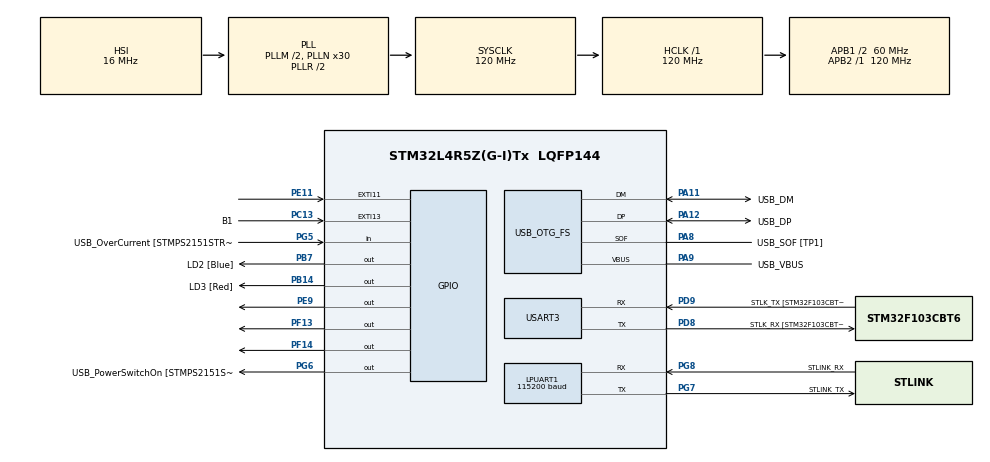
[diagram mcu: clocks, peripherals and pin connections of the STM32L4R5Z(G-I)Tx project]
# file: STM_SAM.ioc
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Dma.LPUART1_TX.2.Direction=DMA_MEMORY_TO_PERIPH
Dma.LPUART1_TX.2.EventEnable=DISABLE
Dma.LPUART1_TX.2.Instance=DMA1_Channel3
Dma.LPUART1_TX.2.MemDataAlignment=DMA_MDATAALIGN_BYTE
Dma.LPUART1_TX.2.MemInc=DMA_MINC_ENABLE
Dma.LPUART1_TX.2.Mode=DMA_NORMAL
Dma.LPUART1_TX.2.PeriphDataAlignment=DMA_PDATAALIGN_BYTE
Dma.LPUART1_TX.2.PeriphInc=DMA_PINC_DISABLE
Dma.LPUART1_TX.2.Polarity=HAL_DMAMUX_REQUEST_GEN_RISING
Dma.LPUART1_TX.2.Priority=DMA_PRIORITY_LOW
Dma.LPUART1_TX.2.RequestNumber=1
Dma.LPUART1_TX.2.SignalID=NONE
Dma.LPUART1_TX.2.SyncEnable=DISABLE
Dma.LPUART1_TX.2.SyncPolarity=HAL_DMAMUX_SYNC_NO_EVENT
Dma.LPUART1_TX.2.SyncRequestNumber=1
Dma.LPUART1_TX.2.SyncSignalID=NONE
Dma.Request0=USART3_RX
Dma.Request1=USART3_TX
Dma.Request2=LPUART1_TX
Dma.USART3_RX.0.Direction=DMA_PERIPH_TO_MEMORY
Dma.USART3_RX.0.EventEnable=DISABLE
Dma.USART3_RX.0.Instance=DMA1_Channel1
Dma.USART3_RX.0.MemDataAlignment=DMA_MDATAALIGN_BYTE
Dma.USART3_RX.0.MemInc=DMA_MINC_ENABLE
Dma.USART3_RX.0.Mode=DMA_NORMAL
Dma.USART3_RX.0.PeriphDataAlignment=DMA_PDATAALIGN_BYTE
Dma.USART3_RX.0.PeriphInc=DMA_PINC_DISABLE
Dma.USART3_RX.0.Polarity=HAL_DMAMUX_REQUEST_GEN_RISING
Dma.USART3_RX.0.Priority=DMA_PRIORITY_LOW
Dma.USART3_RX.0.RequestNumber=1
Dma.USART3_RX.0.SignalID=NONE
Dma.USART3_RX.0.SyncEnable=DISABLE
Dma.USART3_RX.0.SyncPolarity=HAL_DMAMUX_SYNC_NO_EVENT
Dma.USART3_RX.0.SyncRequestNumber=1
Dma.USART3_RX.0.SyncSignalID=NONE
Dma.USART3_TX.1.Direction=DMA_MEMORY_TO_PERIPH
Dma.USART3_TX.1.EventEnable=DISABLE
Dma.USART3_TX.1.Instance=DMA1_Channel2
Dma.USART3_TX.1.MemDataAlignment=DMA_MDATAALIGN_BYTE
Dma.USART3_TX.1.MemInc=DMA_MINC_ENABLE
Dma.USART3_TX.1.Mode=DMA_NORMAL
Dma.USART3_TX.1.PeriphDataAlignment=DMA_PDATAALIGN_BYTE
Dma.USART3_TX.1.PeriphInc=DMA_PINC_DISABLE
Dma.USART3_TX.1.Polarity=HAL_DMAMUX_REQUEST_GEN_RISING
Dma.USART3_TX.1.Priority=DMA_PRIORITY_LOW
Dma.USART3_TX.1.RequestNumber=1
Dma.USART3_TX.1.SignalID=NONE
Dma.USART3_TX.1.SyncEnable=DISABLE
Dma.USART3_TX.1.SyncPolarity=HAL_DMAMUX_SYNC_NO_EVENT
Dma.USART3_TX.1.SyncRequestNumber=1
Dma.USART3_TX.1.SyncSignalID=NONE
LPUART1.BaudRate=115200
LPUART1.WordLength=UART_WORDLENGTH_8B
Mcu.Family=STM32L4
Mcu.Name=STM32L4R5Z(G-I)Tx
Mcu.Package=LQFP144
NVIC.DMA1_Channel1_IRQn=true\:0\:0\:false\:false\:true\:false\:true\:true
NVIC.DMA1_Channel2_IRQn=true\:0\:0\:false\:false\:true\:false\:true\:true
NVIC.DMA1_Channel3_IRQn=true\:0\:0\:false\:false\:true\:false\:true\:true
NVIC.LPUART1_IRQn=true\:0\:0\:false\:false\:true\:true\:true\:true
NVIC.PriorityGroup=NVIC_PRIORITYGROUP_4
NVIC.USART3_IRQn=true\:0\:0\:false\:false\:true\:true\:true\:true
PA10.GPIO_Label=USB_ID
PA10.Signal=USB_OTG_FS_ID
PA11.GPIO_Label=USB_DM
PA11.Mode=Device_Only
PA11.Signal=USB_OTG_FS_DM
PA12.GPIO_Label=USB_DP
PA12.Mode=Device_Only
PA12.Signal=USB_OTG_FS_DP
PA13\ (JTMS/SWDIO).GPIO_Label=TMS
PA13\ (JTMS/SWDIO).Mode=Trace_Asynchronous_SW
PA13\ (JTMS/SWDIO).Signal=SYS_JTMS-SWDIO
PA14\ (JTCK/SWCLK).GPIO_Label=TCK
PA14\ (JTCK/SWCLK).Mode=Trace_Asynchronous_SW
PA14\ (JTCK/SWCLK).Signal=SYS_JTCK-SWCLK
PA8.GPIO_Label=USB_SOF [TP1]
PA8.Mode=Activate_SOF_FS
PA8.Signal=USB_OTG_FS_SOF
PA9.GPIO_Label=USB_VBUS
PA9.Mode=Activate_VBUS
PA9.Signal=USB_OTG_FS_VBUS
PB14.GPIO_Label=LD3 [Red]
PB14.Signal=GPIO_Output
PB3\ (JTDO/TRACESWO).GPIO_Label=SWO
PB3\ (JTDO/TRACESWO).Mode=Trace_Asynchronous_SW
PB3\ (JTDO/TRACESWO).Signal=SYS_JTDO-SWO
PB7.GPIO_Label=LD2 [Blue]
PB7.Signal=GPIO_Output
PC13.GPIO_Label=B1
PC13.Signal=GPXTI13
PC14-OSC32_IN\ (PC14).Mode=LSE-External-Oscillator
PC14-OSC32_IN\ (PC14).Signal=RCC_OSC32_IN
PC15-OSC32_OUT\ (PC15).Mode=LSE-External-Oscillator
PC15-OSC32_OUT\ (PC15).Signal=RCC_OSC32_OUT
PD8.GPIO_Label=STLK_RX [STM32F103CBT6_PA3]
PD8.Mode=Asynchronous
PD8.Signal=USART3_TX
PD9.GPIO_Label=STLK_TX [STM32F103CBT6_PA2]
PD9.Mode=Asynchronous
PD9.Signal=USART3_RX
PE11.Signal=GPXTI11
PE9.Signal=GPIO_Output
PF13.Signal=GPIO_Output
PF14.Signal=GPIO_Output
PG5.GPIO_Label=USB_OverCurrent [STMPS2151STR_FAULT]
PG5.Signal=GPIO_Input
PG6.GPIO_Label=USB_PowerSwitchOn [STMPS2151STR_EN]
PG6.Signal=GPIO_Output
PG7.GPIO_Label=STLINK_TX
PG7.Mode=Asynchronous
PG7.Signal=LPUART1_TX
PG8.GPIO_Label=STLINK_RX
PG8.Mode=Asynchronous
PG8.Signal=LPUART1_RX
PH0-OSC_IN\ (PH0).Mode=HSE-External-Clock-Source
PH0-OSC_IN\ (PH0).Signal=RCC_OSC_IN
PH1-OSC_OUT\ (PH1).Signal=RCC_OSC_OUT
ProjectManager.HeapSize=0x200
ProjectManager.StackSize=0x400
ProjectManager.TargetToolchain=MDK-ARM V5.32
RCC.48MHZClocksFreq_Value=24000000
RCC.ADCFreq_Value=96000000
RCC.AHBFreq_Value=120000000
RCC.APB1CLKDivider=RCC_HCLK_DIV2
RCC.APB1Freq_Value=60000000
RCC.APB1TimFreq_Value=120000000
RCC.APB2Freq_Value=120000000
RCC.APB2TimFreq_Value=120000000
RCC.CK48CLockSelection=RCC_USBCLKSOURCE_HSI48
RCC.CortexFreq_Value=120000000
RCC.HCLKFreq_Value=120000000
RCC.HSE_VALUE=8000000
RCC.HSI48_VALUE=48000000
RCC.HSI_VALUE=16000000
RCC.MSI_VALUE=4000000
RCC.PLLM1=2
RCC.PLLMUL=RCC_PLL_MUL9
RCC.PLLN=30
RCC.PLLSAI1N=12
RCC.PLLSourceVirtual=RCC_PLLSOURCE_HSI
RCC.PRESCALERUSB=RCC_USBCLKSOURCE_PLL_DIV1_5
RCC.SYSCLKFreq_VALUE=120000000
RCC.SYSCLKSource=RCC_SYSCLKSOURCE_PLLCLK
RCC.SYSCLKSourceVirtual=RCC_SYSCLKSOURCE_PLLCLK
RCC.USBFreq_Value=48000000
RCC.VCOOutputFreq_Value=240000000
USART3.VirtualMode-Asynchronous=VM_ASYNC
USB_OTG_FS.VirtualMode=Device_Only
board=NUCLEO-L4R5ZI

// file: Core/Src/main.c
/* USER CODE BEGIN Header */
/**
  ******************************************************************************
  * @file           : main.c
  * @brief          : Main program body
  ******************************************************************************
  * @attention
  *
  * Copyright (c) 2025 STMicroelectronics.
  * All rights reserved.
  *
  * This software is licensed under terms that can be found in the LICENSE file
  * in the root directory of this software component.
  * If no LICENSE file comes with this software, it is provided AS-IS.
  *
  ******************************************************************************
  */
/* USER CODE END Header */
#include "main.h"
#include "include.h"

/* USER CODE BEGIN PD */
#if defined ( __GNUC__) && !defined(__clang__)
/* With GCC, small printf (option LD Linker->Libraries->Small printf
   set to 'Yes') calls __io_putchar() */
#define PUTCHAR_PROTOTYPE int __io_putchar(int ch)
#else
#define PUTCHAR_PROTOTYPE int fputc(int ch, FILE *f)
#endif

__asm(".global __use_no_semihosting");

void _sys_exit(int code) {
	(void)code;
	while(1);
};

void _ttywrch(int ch)
{
	(void)ch;
	while(1);
}

char *_sys_command_string(char *cmd , int len) {
	(void)len;
	return cmd;
}
/* USER CODE END PD */

UART_HandleTypeDef hlpuart1;
UART_HandleTypeDef huart3;
DMA_HandleTypeDef hdma_lpuart1_tx;
DMA_HandleTypeDef hdma_usart3_rx;
DMA_HandleTypeDef hdma_usart3_tx;

PCD_HandleTypeDef hpcd_USB_OTG_FS;

void SystemClock_Config(void);
static void MX_GPIO_Init(void);
static void MX_DMA_Init(void);
static void MX_LPUART1_UART_Init(void);
static void MX_USART3_UART_Init(void);
static void MX_USB_OTG_FS_PCD_Init(void);

/* USER CODE BEGIN 0 */

/**
 * @brief Get system tick count.
 *
 */
unsigned int GetSysTickCnt()
{
	return HAL_GetTick();
}

unsigned short SendtoCom(unsigned char com, char *dp, unsigned short dlen)
{

	if(com == ATCCH_A)
	{
		bsp_usart_write(dp,dlen);
	}
	else if(com == DBGCH_A)
	{
		printf("%s",dp);
	}

	return 0;
}

unsigned short ReadfoCom(unsigned char com, char *dp,  unsigned short dmax)
{
	return bsp_usart_read(dp , dmax);
}

/* USER CODE END 0 */

int main(void)
{

  /* MCU Configuration--------------------------------------------------------*/

  /* Reset of all peripherals, Initializes the Flash interface and the Systick. */
  HAL_Init();

  /* Configure the system clock */
  SystemClock_Config();

  /* Initialize all configured peripherals */
  MX_GPIO_Init();
  MX_DMA_Init();
  MX_LPUART1_UART_Init();
  MX_USART3_UART_Init();
  MX_USB_OTG_FS_PCD_Init();
  /* USER CODE BEGIN 2 */
	bsp_init();
	TesterInit();
  /* USER CODE END 2 */

  /* Infinite loop */
  while (1)
  {
		TesterProc();
  }
}

void SystemClock_Config(void)
{
  RCC_OscInitTypeDef RCC_OscInitStruct = {0};
  RCC_ClkInitTypeDef RCC_ClkInitStruct = {0};

  /** Configure the main internal regulator output voltage
  */
  if (HAL_PWREx_ControlVoltageScaling(PWR_REGULATOR_VOLTAGE_SCALE1_BOOST) != HAL_OK)
  {
    Error_Handler();
  }

  /** Initializes the RCC Oscillators according to the specified parameters
  * in the RCC_OscInitTypeDef structure.
  */
  RCC_OscInitStruct.OscillatorType = RCC_OSCILLATORTYPE_HSI48|RCC_OSCILLATORTYPE_HSI;
  RCC_OscInitStruct.HSIState = RCC_HSI_ON;
  RCC_OscInitStruct.HSI48State = RCC_HSI48_ON;
  RCC_OscInitStruct.HSICalibrationValue = RCC_HSICALIBRATION_DEFAULT;
  RCC_OscInitStruct.PLL.PLLState = RCC_PLL_ON;
  RCC_OscInitStruct.PLL.PLLSource = RCC_PLLSOURCE_HSI;
  RCC_OscInitStruct.PLL.PLLM = 2;
  RCC_OscInitStruct.PLL.PLLN = 30;
  RCC_OscInitStruct.PLL.PLLP = RCC_PLLP_DIV2;
  RCC_OscInitStruct.PLL.PLLQ = RCC_PLLQ_DIV2;
  RCC_OscInitStruct.PLL.PLLR = RCC_PLLR_DIV2;
  if (HAL_RCC_OscConfig(&RCC_OscInitStruct) != HAL_OK)
  {
    Error_Handler();
  }

  /** Initializes the CPU, AHB and APB buses clocks
  */
  RCC_ClkInitStruct.ClockType = RCC_CLOCKTYPE_HCLK|RCC_CLOCKTYPE_SYSCLK
                              |RCC_CLOCKTYPE_PCLK1|RCC_CLOCKTYPE_PCLK2;
  RCC_ClkInitStruct.SYSCLKSource = RCC_SYSCLKSOURCE_PLLCLK;
  RCC_ClkInitStruct.AHBCLKDivider = RCC_SYSCLK_DIV1;
  RCC_ClkInitStruct.APB1CLKDivider = RCC_HCLK_DIV2;
  RCC_ClkInitStruct.APB2CLKDivider = RCC_HCLK_DIV1;

  if (HAL_RCC_ClockConfig(&RCC_ClkInitStruct, FLASH_LATENCY_5) != HAL_OK)
  {
    Error_Handler();
  }
}

static void MX_LPUART1_UART_Init(void)
{

  hlpuart1.Instance = LPUART1;
  hlpuart1.Init.BaudRate = 115200;
  hlpuart1.Init.WordLength = UART_WORDLENGTH_8B;
  hlpuart1.Init.StopBits = UART_STOPBITS_1;
  hlpuart1.Init.Parity = UART_PARITY_NONE;
  hlpuart1.Init.Mode = UART_MODE_TX_RX;
  hlpuart1.Init.HwFlowCtl = UART_HWCONTROL_NONE;
  hlpuart1.Init.OneBitSampling = UART_ONE_BIT_SAMPLE_DISABLE;
  hlpuart1.Init.ClockPrescaler = UART_PRESCALER_DIV1;
  hlpuart1.AdvancedInit.AdvFeatureInit = UART_ADVFEATURE_NO_INIT;
  hlpuart1.FifoMode = UART_FIFOMODE_DISABLE;
  if (HAL_UART_Init(&hlpuart1) != HAL_OK)
  {
    Error_Handler();
  }
  if (HAL_UARTEx_SetTxFifoThreshold(&hlpuart1, UART_TXFIFO_THRESHOLD_1_8) != HAL_OK)
  {
    Error_Handler();
  }
  if (HAL_UARTEx_SetRxFifoThreshold(&hlpuart1, UART_RXFIFO_THRESHOLD_1_8) != HAL_OK)
  {
    Error_Handler();
  }
  if (HAL_UARTEx_DisableFifoMode(&hlpuart1) != HAL_OK)
  {
    Error_Handler();
  }

}

static void MX_USART3_UART_Init(void)
{

  huart3.Instance = USART3;
  huart3.Init.BaudRate = 115200;
  huart3.Init.WordLength = UART_WORDLENGTH_8B;
  huart3.Init.StopBits = UART_STOPBITS_1;
  huart3.Init.Parity = UART_PARITY_NONE;
  huart3.Init.Mode = UART_MODE_TX_RX;
  huart3.Init.HwFlowCtl = UART_HWCONTROL_NONE;
  huart3.Init.OverSampling = UART_OVERSAMPLING_16;
  huart3.Init.OneBitSampling = UART_ONE_BIT_SAMPLE_DISABLE;
  huart3.Init.ClockPrescaler = UART_PRESCALER_DIV1;
  huart3.AdvancedInit.AdvFeatureInit = UART_ADVFEATURE_NO_INIT;
  if (HAL_UART_Init(&huart3) != HAL_OK)
  {
    Error_Handler();
  }
  if (HAL_UARTEx_SetTxFifoThreshold(&huart3, UART_TXFIFO_THRESHOLD_1_8) != HAL_OK)
  {
    Error_Handler();
  }
  if (HAL_UARTEx_SetRxFifoThreshold(&huart3, UART_RXFIFO_THRESHOLD_1_8) != HAL_OK)
  {
    Error_Handler();
  }
  if (HAL_UARTEx_DisableFifoMode(&huart3) != HAL_OK)
  {
    Error_Handler();
  }

}

static void MX_USB_OTG_FS_PCD_Init(void)
{

  hpcd_USB_OTG_FS.Instance = USB_OTG_FS;
  hpcd_USB_OTG_FS.Init.dev_endpoints = 6;
  hpcd_USB_OTG_FS.Init.speed = PCD_SPEED_FULL;
  hpcd_USB_OTG_FS.Init.phy_itface = PCD_PHY_EMBEDDED;
  hpcd_USB_OTG_FS.Init.Sof_enable = ENABLE;
  hpcd_USB_OTG_FS.Init.low_power_enable = DISABLE;
  hpcd_USB_OTG_FS.Init.lpm_enable = DISABLE;
  hpcd_USB_OTG_FS.Init.battery_charging_enable = ENABLE;
  hpcd_USB_OTG_FS.Init.use_dedicated_ep1 = DISABLE;
  hpcd_USB_OTG_FS.Init.vbus_sensing_enable = ENABLE;
  if (HAL_PCD_Init(&hpcd_USB_OTG_FS) != HAL_OK)
  {
    Error_Handler();
  }

}

static void MX_DMA_Init(void)
{

  /* DMA controller clock enable */
  __HAL_RCC_DMAMUX1_CLK_ENABLE();
  __HAL_RCC_DMA1_CLK_ENABLE();

  /* DMA interrupt init */
  /* DMA1_Channel1_IRQn interrupt configuration */
  HAL_NVIC_SetPriority(DMA1_Channel1_IRQn, 0, 0);
  HAL_NVIC_EnableIRQ(DMA1_Channel1_IRQn);
  /* DMA1_Channel2_IRQn interrupt configuration */
  HAL_NVIC_SetPriority(DMA1_Channel2_IRQn, 0, 0);
  HAL_NVIC_EnableIRQ(DMA1_Channel2_IRQn);
  /* DMA1_Channel3_IRQn interrupt configuration */
  HAL_NVIC_SetPriority(DMA1_Channel3_IRQn, 0, 0);
  HAL_NVIC_EnableIRQ(DMA1_Channel3_IRQn);

}

static void MX_GPIO_Init(void)
{
  GPIO_InitTypeDef GPIO_InitStruct = {0};

  /* GPIO Ports Clock Enable */
  __HAL_RCC_GPIOC_CLK_ENABLE();
  __HAL_RCC_GPIOH_CLK_ENABLE();
  __HAL_RCC_GPIOF_CLK_ENABLE();
  __HAL_RCC_GPIOE_CLK_ENABLE();
  __HAL_RCC_GPIOB_CLK_ENABLE();
  __HAL_RCC_GPIOD_CLK_ENABLE();
  __HAL_RCC_GPIOG_CLK_ENABLE();
  HAL_PWREx_EnableVddIO2();
  __HAL_RCC_GPIOA_CLK_ENABLE();

  /*Configure GPIO pin Output Level */
  HAL_GPIO_WritePin(GPIOF, GPIO_PIN_13|GPIO_PIN_14, GPIO_PIN_RESET);

  /*Configure GPIO pin Output Level */
  HAL_GPIO_WritePin(GPIOE, GPIO_PIN_9, GPIO_PIN_RESET);

  /*Configure GPIO pin Output Level */
  HAL_GPIO_WritePin(GPIOB, LD3_Pin|LD2_Pin, GPIO_PIN_RESET);

  /*Configure GPIO pin Output Level */
  HAL_GPIO_WritePin(USB_PowerSwitchOn_GPIO_Port, USB_PowerSwitchOn_Pin, GPIO_PIN_RESET);

  /*Configure GPIO pin : B1_Pin */
  GPIO_InitStruct.Pin = B1_Pin;
  GPIO_InitStruct.Mode = GPIO_MODE_IT_RISING;
  GPIO_InitStruct.Pull = GPIO_NOPULL;
  HAL_GPIO_Init(B1_GPIO_Port, &GPIO_InitStruct);

  /*Configure GPIO pins : PF13 PF14 */
  GPIO_InitStruct.Pin = GPIO_PIN_13|GPIO_PIN_14;
  GPIO_InitStruct.Mode = GPIO_MODE_OUTPUT_PP;
  GPIO_InitStruct.Pull = GPIO_NOPULL;
  GPIO_InitStruct.Speed = GPIO_SPEED_FREQ_LOW;
  HAL_GPIO_Init(GPIOF, &GPIO_InitStruct);

  /*Configure GPIO pin : PE9 */
  GPIO_InitStruct.Pin = GPIO_PIN_9;
  GPIO_InitStruct.Mode = GPIO_MODE_OUTPUT_PP;
  GPIO_InitStruct.Pull = GPIO_NOPULL;
  GPIO_InitStruct.Speed = GPIO_SPEED_FREQ_LOW;
  HAL_GPIO_Init(GPIOE, &GPIO_InitStruct);

  /*Configure GPIO pin : PE11 */
  GPIO_InitStruct.Pin = GPIO_PIN_11;
  GPIO_InitStruct.Mode = GPIO_MODE_IT_RISING;
  GPIO_InitStruct.Pull = GPIO_NOPULL;
  HAL_GPIO_Init(GPIOE, &GPIO_InitStruct);

  /*Configure GPIO pins : LD3_Pin LD2_Pin */
  GPIO_InitStruct.Pin = LD3_Pin|LD2_Pin;
  GPIO_InitStruct.Mode = GPIO_MODE_OUTPUT_PP;
  GPIO_InitStruct.Pull = GPIO_NOPULL;
  GPIO_InitStruct.Speed = GPIO_SPEED_FREQ_LOW;
  HAL_GPIO_Init(GPIOB, &GPIO_InitStruct);

  /*Configure GPIO pin : USB_OverCurrent_Pin */
  GPIO_InitStruct.Pin = USB_OverCurrent_Pin;
  GPIO_InitStruct.Mode = GPIO_MODE_INPUT;
  GPIO_InitStruct.Pull = GPIO_NOPULL;
  HAL_GPIO_Init(USB_OverCurrent_GPIO_Port, &GPIO_InitStruct);

  /*Configure GPIO pin : USB_PowerSwitchOn_Pin */
  GPIO_InitStruct.Pin = USB_PowerSwitchOn_Pin;
  GPIO_InitStruct.Mode = GPIO_MODE_OUTPUT_PP;
  GPIO_InitStruct.Pull = GPIO_NOPULL;
  GPIO_InitStruct.Speed = GPIO_SPEED_FREQ_LOW;
  HAL_GPIO_Init(USB_PowerSwitchOn_GPIO_Port, &GPIO_InitStruct);

}

/* USER CODE BEGIN 4 */
/**
  * @brief  Retargets the C library printf function to the USART.
  * @param  None
  * @retval None
  */
PUTCHAR_PROTOTYPE
{
	while(__HAL_UART_GET_FLAG(&hlpuart1,UART_FLAG_TC) == RESET);
	HAL_UART_Transmit(&hlpuart1,(uint8_t *)&ch,1,HAL_MAX_DELAY);
  return ch;
}
/* USER CODE END 4 */

void Error_Handler(void)
{
  __disable_irq();
  while (1)
  {
  }
}
